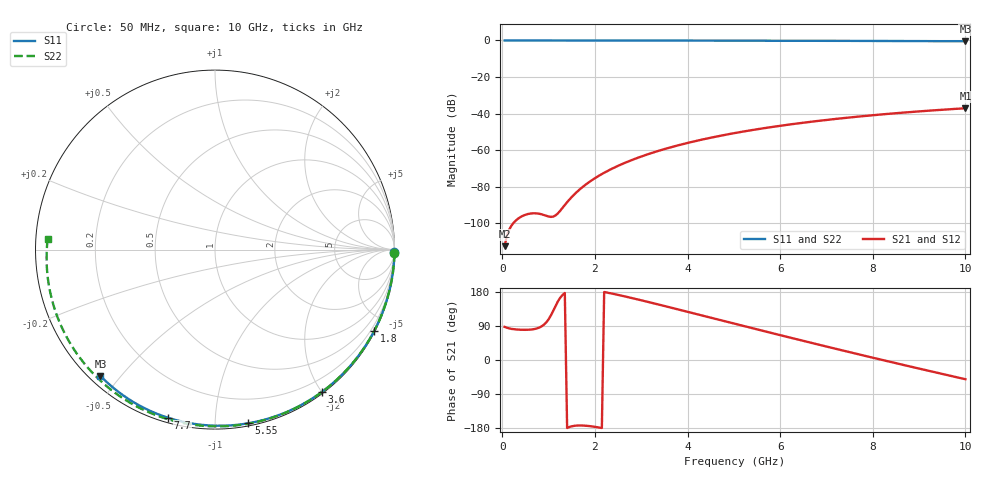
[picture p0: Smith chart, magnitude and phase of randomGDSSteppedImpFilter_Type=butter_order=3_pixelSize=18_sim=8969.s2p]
! freq	dB(S11)	phase(S11)	dB(S12)	phase(S12)
!  dB(S21)	phase(S21)	dB(S22)	phase(S22)
!S-par simulation data
#  GHz  S  DB  R 50
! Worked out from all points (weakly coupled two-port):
!   200 points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, 50 MHz to 10 GHz, reference 50 ohm
!   highest |S21| = -37.07 dB at 10 GHz (marker M1); lowest = -112.4 dB at 50 MHz (marker M2)
!   lowest |S11| = -0.4 dB at 10 GHz (marker M3), VSWR 39.00, Z = 1.53 - j22.1 ohm
!   |S11| at or under -10 dB: nowhere
!   |S22| runs from -0.6 to 0.0 dB; largest |S21 - S12| = 0
!   S11 on the Smith chart (normalised r, x): 50 MHz: open; 1.8 GHz: 0.04, -4.15; 3.6 GHz: 0.02, -2.01; 5.55 GHz: 0.02, -1.21; 7.7 GHz: 0.02, -0.76; 10 GHz: 0.03, -0.44
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0.05  -0.00 -0.8  -112.43 87.4  -112.43 87.4  -0.00 -1.1
0.45  -0.01 -6.9  -95.77 79.6  -95.77 79.6  -0.01 -9.6
0.85  -0.02 -12.9  -95.02 88.8  -95.02 88.8  -0.02 -18.0
1.25  -0.02 -18.9  -93.08 164.3  -93.08 164.3  -0.03 -26.4
1.7  -0.03 -25.6  -80.80 -172.8  -80.80 -172.8  -0.05 -35.6
1.75  -0.03 -26.3  -79.77 -173.0  -79.77 -173.0  -0.05 -36.6
1.8  -0.03 -27.1  -78.79 -173.4  -78.79 -173.4  -0.05 -37.7
2.1  -0.04 -31.5  -73.74 -178.4  -73.74 -178.4  -0.06 -43.7
2.3  -0.04 -34.4  -70.97 177.0  -70.97 177.0  -0.06 -47.7
2.5  -0.05 -37.3  -68.52 171.8  -68.52 171.8  -0.07 -51.7
2.9  -0.06 -43.1  -64.36 160.6  -64.36 160.6  -0.08 -59.5
3.4  -0.07 -50.2  -60.13 145.6  -60.13 145.6  -0.09 -69.1
3.6  -0.07 -53.0  -58.66 139.5  -58.66 139.5  -0.10 -72.9
4.3  -0.09 -62.6  -54.25 117.9  -54.25 117.9  -0.12 -85.8
5.05  -0.11 -72.6  -50.47 94.7  -50.47 94.7  -0.15 -99.2
5.55  -0.13 -79.1  -48.34 79.3  -48.34 79.3  -0.18 -107.8
6.1  -0.15 -86.1  -46.29 62.6  -46.29 62.6  -0.21 -117.2
6.7  -0.18 -93.6  -44.33 44.5  -44.33 44.5  -0.25 -127.3
7.7  -0.24 -105.6  -41.58 14.8  -41.58 14.8  -0.33 -143.9
8.35  -0.29 -113.3  -40.08 -4.1  -40.08 -4.1  -0.39 -154.8
9.2  -0.36 -123.1  -38.39 -28.4  -38.39 -28.4  -0.49 -169.4
10  -0.45 -132.2  -37.07 -50.7  -37.07 -50.7  -0.59 176.3
